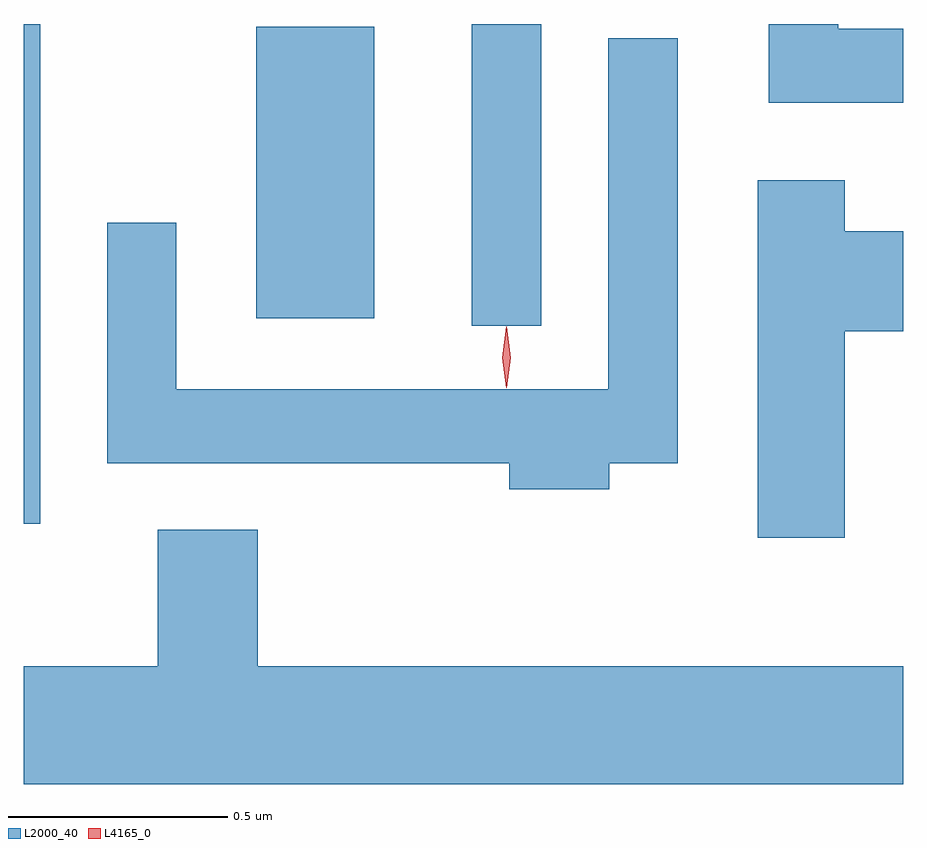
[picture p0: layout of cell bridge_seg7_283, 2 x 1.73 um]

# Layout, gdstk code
import gdstk
lib = gdstk.Library(unit=1e-6, precision=1e-09)
def R(c, l, rs):  # rectangles x0, y0, x1, y1
    for r in rs: c.add(gdstk.rectangle(r[:2], r[2:], *l))
def P(c, l, *ps):  # polygons
    for p in ps: c.add(gdstk.Polygon(p, *l))
L2000_40 = (2000, 40)
L4165_0 = (4165, 0)

bridge_seg7_283 = lib.new_cell('bridge_seg7_283')
R(bridge_seg7_283, L2000_40, [(1255.917,1801.488,1255.954,1802.625), (1256.936,1801.938,1257.094,1802.625), (1256.446,1801.956,1256.714,1802.619)])
P(bridge_seg7_283, L2000_40, [(1257.917,1802.614),(1257.769,1802.614),(1257.769,1802.625),(1257.611,1802.625),(1257.611,1802.446),(1257.917,1802.446)],
  [(1257.249,1801.626),(1257.404,1801.626),(1257.404,1802.593),(1257.246,1802.593),(1257.246,1801.794),(1256.264,1801.794),(1256.264,1802.173),(1256.106,1802.173),(1256.106,1801.626),(1257.021,1801.626),(1257.021,1801.566),(1257.249,1801.566)],
  [(1257.784,1801.926),(1257.917,1801.926),(1257.917,1802.154),(1257.784,1802.154),(1257.784,1802.269),(1257.586,1802.269),(1257.586,1801.456),(1257.784,1801.456)],
  [(1257.917,1801.164),(1256.449,1801.164),(1256.449,1801.474),(1256.221,1801.474),(1256.221,1801.164),(1255.917,1801.164),(1255.917,1800.896),(1257.917,1800.896)])
P(bridge_seg7_283, L4165_0, [(1257.014,1801.797),(1257.005,1801.866),(1257.014,1801.936),(1257.015,1801.936),(1257.015,1801.936),(1257.025,1801.866),(1257.015,1801.797),(1257.015,1801.797)],
  [(1257.015,1801.799),(1257.014,1801.8),(1257.005,1801.866),(1257.014,1801.932),(1257.015,1801.933),(1257.015,1801.932),(1257.025,1801.866),(1257.015,1801.8)])

lib.write_gds('bridge_seg7_283.gds')
